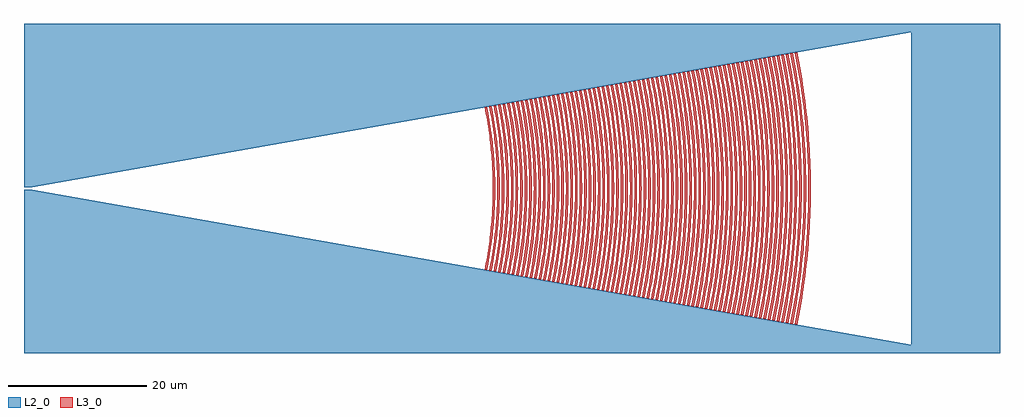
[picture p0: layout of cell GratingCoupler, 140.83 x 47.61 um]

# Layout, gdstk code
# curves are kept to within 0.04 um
import gdstk
lib = gdstk.Library(unit=1e-6, precision=1e-09)
def P(c, l, *ps):  # polygons
    for p in ps: c.add(gdstk.Polygon(p, *l))
L2_0 = (2, 0)
L3_0 = (3, 0)

gratingcoupler = lib.new_cell('GratingCoupler')
P(gratingcoupler, L2_0, [(0,-23.804),(0,-0.215),(1.219,-0.215),(128.025,-22.574),(128.025,22.574),(1.219,0.215),(0,0.215),(0,23.804),(140.828,23.804),(140.828,-23.804)])
P(gratingcoupler, L3_0, [(66.804,-11.779),(66.479,-11.722),(67.042,-8.469),(67.379,-5.658),(67.582,-2.833),(67.65,0),(67.582,2.833),(67.379,5.658),(67.042,8.469),(66.479,11.722),(66.804,11.779),(67.299,8.98),(67.661,6.158),(67.912,2.846),(67.98,0),(67.912,-2.846),(67.661,-6.158),(67.299,-8.98)],
  [(67.453,-11.894),(67.128,-11.836),(67.696,-8.552),(68.037,-5.713),(68.242,-2.86),(68.31,0),(68.242,2.86),(68.037,5.713),(67.696,8.552),(67.128,11.836),(67.453,11.894),(67.953,9.067),(68.318,6.217),(68.547,3.352),(68.64,0),(68.547,-3.352),(68.318,-6.217),(67.953,-9.067)],
  [(68.101,-12.008),(67.776,-11.951),(68.35,-8.635),(68.694,-5.768),(68.901,-2.888),(68.97,0),(68.901,2.888),(68.694,5.768),(68.35,8.635),(67.776,11.951),(68.101,12.008),(68.606,9.154),(68.975,6.277),(69.206,3.385),(69.3,0),(69.206,-3.385),(68.975,-6.277),(68.606,-9.154)],
  [(68.75,-12.122),(68.425,-12.065),(68.932,-9.198),(69.303,-6.307),(69.535,-3.401),(69.63,0),(69.535,3.401),(69.303,6.307),(68.932,9.198),(68.425,12.065),(68.75,12.122),(69.26,9.241),(69.632,6.337),(69.865,3.417),(69.96,0),(69.865,-3.417),(69.632,-6.337),(69.26,-9.241)],
  [(69.398,-12.237),(69.073,-12.179),(69.586,-9.285),(70.009,-5.879),(70.22,-2.943),(70.29,0),(70.22,2.943),(70.009,5.879),(69.586,9.285),(69.073,12.179),(69.398,12.237),(69.913,9.328),(70.289,6.397),(70.524,3.449),(70.62,0),(70.524,-3.449),(70.289,-6.397),(69.913,-9.328)],
  [(70.047,-12.351),(69.722,-12.294),(70.239,-9.372),(70.617,-6.427),(70.879,-2.971),(70.95,0),(70.879,2.971),(70.617,6.427),(70.239,9.372),(69.722,12.294),(70.047,12.351),(70.566,9.416),(70.995,5.962),(71.209,2.985),(71.28,0),(71.209,-2.985),(70.995,-5.962),(70.566,-9.416)],
  [(70.695,-12.466),(70.37,-12.408),(70.893,-9.459),(71.274,-6.486),(71.538,-2.998),(71.61,0),(71.538,2.998),(71.274,6.486),(70.893,9.459),(70.37,12.408),(70.695,12.466),(71.22,9.503),(71.652,6.017),(71.868,3.012),(71.94,0),(71.868,-3.012),(71.652,-6.017),(71.22,-9.503)],
  [(71.344,-12.58),(71.019,-12.523),(71.546,-9.546),(71.931,-6.546),(72.172,-3.53),(72.27,0),(72.172,3.53),(71.931,6.546),(71.546,9.546),(71.019,12.523),(71.344,12.58),(71.873,9.59),(72.31,6.072),(72.527,3.04),(72.6,0),(72.527,-3.04),(72.31,-6.072),(71.873,-9.59)],
  [(71.993,-12.694),(71.668,-12.637),(72.274,-9.13),(72.638,-6.1),(72.857,-3.054),(72.93,0),(72.857,3.054),(72.638,6.1),(72.274,9.13),(71.668,12.637),(71.993,12.694),(72.602,9.172),(72.967,6.127),(73.187,3.067),(73.26,0),(73.187,-3.067),(72.967,-6.127),(72.602,-9.172)],
  [(72.641,-12.809),(72.316,-12.751),(72.853,-9.721),(73.244,-6.666),(73.49,-3.594),(73.59,0),(73.49,3.594),(73.244,6.666),(72.853,9.721),(72.316,12.751),(72.641,12.809),(73.18,9.764),(73.573,6.696),(73.846,3.095),(73.92,0),(73.846,-3.095),(73.573,-6.696),(73.18,-9.764)],
  [(73.29,-12.923),(72.965,-12.866),(73.506,-9.808),(73.953,-6.21),(74.176,-3.109),(74.25,0),(74.176,3.109),(73.953,6.21),(73.582,9.296),(72.965,12.866),(73.29,12.923),(73.91,9.337),(74.282,6.238),(74.505,3.123),(74.58,0),(74.505,-3.123),(74.282,-6.238),(73.91,-9.337)],
  [(73.938,-13.037),(73.613,-12.98),(74.16,-9.895),(74.61,-6.265),(74.835,-3.137),(74.91,0),(74.835,3.137),(74.61,6.265),(74.16,9.895),(73.613,12.98),(73.938,13.037),(74.487,9.939),(74.887,6.815),(75.138,3.675),(75.24,0),(75.138,-3.675),(74.887,-6.815),(74.487,-9.939)],
  [(74.587,-13.152),(74.262,-13.094),(74.813,-9.982),(75.268,-6.32),(75.494,-3.164),(75.57,0),(75.494,3.164),(75.268,6.32),(74.813,9.982),(74.262,13.094),(74.587,13.152),(75.14,10.026),(75.544,6.875),(75.797,3.707),(75.9,0),(75.797,-3.707),(75.544,-6.875),(75.14,-10.026)],
  [(75.236,-13.266),(74.911,-13.209),(75.466,-10.069),(75.925,-6.376),(76.154,-3.192),(76.23,0),(76.154,3.192),(75.925,6.376),(75.466,10.069),(74.911,13.209),(75.236,13.266),(75.793,10.113),(76.201,6.935),(76.456,3.739),(76.56,0),(76.456,-3.739),(76.201,-6.935),(75.793,-10.113)],
  [(75.884,-13.38),(75.559,-13.323),(76.12,-10.157),(76.529,-6.965),(76.813,-3.219),(76.89,0),(76.813,3.219),(76.529,6.965),(76.12,10.157),(75.559,13.323),(75.884,13.38),(76.447,10.2),(76.858,6.995),(77.143,3.233),(77.22,0),(77.143,-3.233),(76.858,-6.995),(76.447,-10.2)],
  [(76.533,-13.495),(76.208,-13.437),(76.853,-9.709),(77.24,-6.486),(77.472,-3.247),(77.55,0),(77.472,3.247),(77.24,6.486),(76.853,9.709),(76.208,13.437),(76.533,13.495),(77.18,9.75),(77.568,6.514),(77.802,3.261),(77.88,0),(77.802,-3.261),(77.568,-6.514),(77.18,-9.75)],
  [(77.181,-13.609),(76.856,-13.552),(77.427,-10.331),(77.843,-7.084),(78.132,-3.275),(78.21,0),(78.132,3.275),(77.843,7.084),(77.427,10.331),(76.856,13.552),(77.181,13.609),(77.754,10.375),(78.226,6.569),(78.461,3.289),(78.54,0),(78.461,-3.289),(78.226,-6.569),(77.754,-10.375)],
  [(77.83,-13.724),(77.505,-13.666),(78.08,-10.418),(78.5,-7.144),(78.763,-3.852),(78.87,0),(78.763,3.852),(78.5,7.144),(78.08,10.418),(77.505,13.666),(77.83,13.724),(78.407,10.462),(78.883,6.624),(79.121,3.316),(79.2,0),(79.121,-3.316),(78.883,-6.624),(78.407,-10.462)],
  [(78.478,-13.838),(78.153,-13.781),(78.733,-10.505),(79.157,-7.204),(79.422,-3.884),(79.53,0),(79.422,3.884),(79.157,7.204),(78.733,10.505),(78.153,13.781),(78.478,13.838),(79.142,9.998),(79.541,6.679),(79.78,3.344),(79.86,0),(79.78,-3.344),(79.541,-6.679),(79.142,-9.998)],
  [(79.127,-13.952),(78.802,-13.895),(79.387,-10.592),(79.869,-6.707),(80.11,-3.358),(80.19,0),(80.11,3.358),(79.869,6.707),(79.387,10.592),(78.802,13.895),(79.127,13.952),(79.714,10.636),(80.198,6.734),(80.439,3.371),(80.52,0),(80.439,-3.371),(80.198,-6.734),(79.714,-10.636)],
  [(79.776,-14.067),(79.451,-14.009),(80.04,-10.68),(80.47,-7.323),(80.74,-3.949),(80.85,0),(80.74,3.949),(80.47,7.323),(80.04,10.68),(79.451,14.009),(79.776,14.067),(80.367,10.723),(80.799,7.353),(81.099,3.399),(81.18,0),(81.099,-3.399),(80.799,-7.353),(80.367,-10.723)],
  [(80.424,-14.181),(80.099,-14.124),(80.694,-10.767),(81.184,-6.817),(81.428,-3.413),(81.51,0),(81.428,3.413),(81.184,6.817),(80.694,10.767),(80.099,14.124),(80.424,14.181),(81.021,10.81),(81.513,6.845),(81.758,3.427),(81.84,0),(81.758,-3.427),(81.513,-6.845),(81.021,-10.81)],
  [(81.073,-14.295),(80.748,-14.238),(81.347,-10.854),(81.784,-7.443),(82.088,-3.44),(82.17,0),(82.088,3.44),(81.784,7.443),(81.347,10.854),(80.748,14.238),(81.073,14.295),(81.674,10.898),(82.113,7.473),(82.388,4.029),(82.5,0),(82.388,-4.029),(82.113,-7.473),(81.674,-10.898)],
  [(81.721,-14.41),(81.396,-14.352),(82,-10.941),(82.441,-7.503),(82.747,-3.468),(82.83,0),(82.747,3.468),(82.441,7.503),(82,10.941),(81.396,14.352),(81.721,14.41),(82.327,10.985),(82.77,7.533),(83.047,4.062),(83.16,0),(83.047,-4.062),(82.77,-7.533),(82.327,-10.985)],
  [(82.37,-14.524),(82.045,-14.467),(82.654,-11.028),(83.156,-6.983),(83.406,-3.496),(83.49,0),(83.406,3.496),(83.156,6.983),(82.654,11.028),(82.045,14.467),(82.37,14.524),(82.981,11.072),(83.427,7.592),(83.706,4.094),(83.82,0),(83.706,-4.094),(83.427,-7.592),(82.981,-11.072)],
  [(83.019,-14.638),(82.694,-14.581),(83.307,-11.116),(83.755,-7.622),(84.066,-3.523),(84.15,0),(84.066,3.523),(83.755,7.622),(83.307,11.116),(82.694,14.581),(83.019,14.638),(83.721,10.576),(84.142,7.066),(84.395,3.537),(84.48,0),(84.395,-3.537),(84.142,-7.066),(83.721,-10.576)],
  [(83.667,-14.753),(83.342,-14.695),(84.047,-10.618),(84.471,-7.093),(84.725,-3.551),(84.81,0),(84.725,3.551),(84.471,7.093),(84.047,10.618),(83.342,14.695),(83.667,14.753),(84.288,11.246),(84.74,7.712),(85.055,3.565),(85.14,0),(85.055,-3.565),(84.74,-7.712),(84.288,-11.246)],
  [(84.316,-14.867),(83.991,-14.81),(84.614,-11.29),(85.069,-7.742),(85.354,-4.174),(85.47,0),(85.354,4.174),(85.069,7.742),(84.614,11.29),(83.991,14.81),(84.316,14.867),(85.029,10.742),(85.457,7.176),(85.714,3.592),(85.8,0),(85.714,-3.592),(85.457,-7.176),(85.029,-10.742)],
  [(84.964,-14.981),(84.639,-14.924),(85.267,-11.377),(85.726,-7.802),(86.013,-4.207),(86.13,0),(86.013,4.207),(85.726,7.802),(85.267,11.377),(84.639,14.924),(84.964,14.981),(85.594,11.421),(86.054,7.832),(86.342,4.223),(86.46,0),(86.342,-4.223),(86.054,-7.832),(85.594,-11.421)],
  [(85.613,-15.096),(85.288,-15.039),(86.01,-10.866),(86.443,-7.259),(86.703,-3.634),(86.79,0),(86.703,3.634),(86.443,7.259),(86.01,10.866),(85.288,15.039),(85.613,15.096),(86.248,11.508),(86.711,7.891),(87.033,3.648),(87.12,0),(87.033,-3.648),(86.711,-7.891),(86.248,-11.508)],
  [(86.261,-15.21),(85.936,-15.153),(86.664,-10.948),(87.1,-7.314),(87.362,-3.662),(87.45,0),(87.362,3.662),(87.1,7.314),(86.664,10.948),(85.936,15.153),(86.261,15.21),(86.991,10.99),(87.429,7.342),(87.692,3.675),(87.78,0),(87.692,-3.675),(87.429,-7.342),(86.991,-10.99)],
  [(86.91,-15.325),(86.585,-15.267),(87.227,-11.639),(87.696,-7.981),(88.022,-3.689),(88.11,0),(88.022,3.689),(87.696,7.981),(87.227,11.639),(86.585,15.267),(86.91,15.325),(87.555,11.682),(88.025,8.011),(88.32,4.32),(88.44,0),(88.32,-4.32),(88.025,-8.011),(87.555,-11.682)],
  [(87.559,-15.439),(87.234,-15.382),(87.972,-11.113),(88.415,-7.424),(88.681,-3.717),(88.77,0),(88.681,3.717),(88.415,7.424),(87.972,11.113),(87.234,15.382),(87.559,15.439),(88.208,11.769),(88.744,7.452),(89.011,3.731),(89.1,0),(89.011,-3.731),(88.744,-7.452),(88.208,-11.769)],
  [(88.207,-15.553),(87.882,-15.496),(88.534,-11.813),(89.01,-8.101),(89.308,-4.368),(89.43,0),(89.308,4.368),(89.01,8.101),(88.534,11.813),(87.882,15.496),(88.207,15.553),(88.861,11.857),(89.339,8.13),(89.638,4.384),(89.76,0),(89.638,-4.384),(89.339,-8.13),(88.861,-11.857)],
  [(88.856,-15.668),(88.531,-15.61),(89.188,-11.9),(89.667,-8.16),(90,-3.772),(90.09,0),(90,3.772),(89.667,8.16),(89.188,11.9),(88.531,15.61),(88.856,15.668),(89.515,11.944),(89.996,8.19),(90.297,4.416),(90.42,0),(90.297,-4.416),(89.996,-8.19),(89.515,-11.944)],
  [(89.504,-15.782),(89.179,-15.725),(89.934,-11.361),(90.387,-7.59),(90.659,-3.8),(90.75,0),(90.659,3.8),(90.387,7.59),(89.934,11.361),(89.179,15.725),(89.504,15.782),(90.168,12.031),(90.716,7.618),(90.989,3.814),(91.08,0),(90.989,-3.814),(90.716,-7.618),(90.168,-12.031)],
  [(90.153,-15.896),(89.828,-15.839),(90.494,-12.075),(90.981,-8.28),(91.285,-4.465),(91.41,0),(91.285,4.465),(90.981,8.28),(90.494,12.075),(89.828,15.839),(90.153,15.896),(90.915,11.485),(91.373,7.673),(91.648,3.841),(91.74,0),(91.648,-3.841),(91.373,-7.673),(90.915,-11.485)],
  [(90.802,-16.011),(90.477,-15.953),(91.148,-12.162),(91.702,-7.7),(91.978,-3.855),(92.07,0),(91.978,3.855),(91.702,7.7),(91.148,12.162),(90.477,15.953),(90.802,16.011),(91.475,12.205),(91.966,8.37),(92.308,3.869),(92.4,0),(92.308,-3.869),(91.966,-8.37),(91.475,-12.205)],
  [(91.45,-16.125),(91.125,-16.068),(91.801,-12.249),(92.295,-8.399),(92.604,-4.529),(92.73,0),(92.604,4.529),(92.295,8.399),(91.801,12.249),(91.125,16.068),(91.45,16.125),(92.224,11.651),(92.688,7.783),(92.967,3.896),(93.06,0),(92.967,-3.896),(92.688,-7.783),(92.224,-11.651)],
  [(92.099,-16.239),(91.774,-16.182),(92.455,-12.336),(93.016,-7.811),(93.296,-3.91),(93.39,0),(93.296,3.91),(93.016,7.811),(92.455,12.336),(91.774,16.182),(92.099,16.239),(92.878,11.733),(93.345,7.838),(93.626,3.924),(93.72,0),(93.626,-3.924),(93.345,-7.838),(92.878,-11.733)],
  [(92.747,-16.354),(92.422,-16.297),(93.108,-12.423),(93.674,-7.866),(93.956,-3.938),(94.05,0),(93.956,3.938),(93.674,7.866),(93.108,12.423),(92.422,16.297),(92.747,16.354),(93.435,12.467),(93.937,8.549),(94.286,3.952),(94.38,0),(94.286,-3.952),(93.937,-8.549),(93.435,-12.467)],
  [(93.396,-16.468),(93.071,-16.411),(93.858,-11.857),(94.331,-7.921),(94.615,-3.966),(94.71,0),(94.615,3.966),(94.331,7.921),(93.858,11.857),(93.071,16.411),(93.396,16.468),(94.186,11.898),(94.66,7.949),(94.945,3.979),(95.04,0),(94.945,-3.979),(94.66,-7.949),(94.186,-11.898)],
  [(94.044,-16.583),(93.719,-16.525),(94.415,-12.598),(94.922,-8.639),(95.275,-3.993),(95.37,0),(95.275,3.993),(94.922,8.639),(94.415,12.598),(93.719,16.525),(94.044,16.583),(94.742,12.641),(95.251,8.669),(95.57,4.674),(95.7,0),(95.57,-4.674),(95.251,-8.669),(94.742,-12.641)],
  [(94.693,-16.697),(94.368,-16.64),(95.068,-12.685),(95.646,-8.032),(95.934,-4.021),(96.03,0),(95.934,4.021),(95.646,8.032),(95.068,12.685),(94.368,16.64),(94.693,16.697),(95.494,12.064),(95.975,8.059),(96.264,4.035),(96.36,0),(96.264,-4.035),(95.975,-8.059),(95.494,-12.064)],
  [(95.342,-16.811),(95.017,-16.754),(95.722,-12.772),(96.236,-8.758),(96.593,-4.048),(96.69,0),(96.593,4.048),(96.236,8.758),(95.722,12.772),(95.017,16.754),(95.342,16.811),(96.049,12.816),(96.565,8.788),(96.888,4.739),(97.02,0),(96.888,-4.739),(96.565,-8.788),(96.049,-12.816)],
  [(95.99,-16.926),(95.665,-16.868),(96.375,-12.859),(96.893,-8.818),(97.253,-4.076),(97.35,0),(97.253,4.076),(96.893,8.818),(96.375,12.859),(95.665,16.868),(95.99,16.926),(96.702,12.903),(97.222,8.848),(97.547,4.771),(97.656,2.046),(97.68,0),(97.656,-2.046),(97.547,-4.771),(97.222,-8.848),(96.702,-12.903)],
  [(96.639,-17.04),(96.314,-16.983),(97.028,-12.946),(97.55,-8.878),(97.738,-6.834),(97.912,-4.104),(98.01,0),(97.912,4.104),(97.738,6.834),(97.55,8.878),(97.028,12.946),(96.314,16.983),(96.639,17.04),(97.456,12.312),(97.947,8.225),(98.242,4.118),(98.34,0),(98.242,-4.118),(97.947,-8.225),(97.456,-12.312)],
  [(97.287,-17.154),(96.962,-17.097),(97.682,-13.034),(98.207,-8.938),(98.536,-4.819),(98.67,0),(98.536,4.819),(98.207,8.938),(97.682,13.034),(96.962,17.097),(97.287,17.154),(98.009,13.077),(98.297,11.026),(98.604,8.28),(98.901,4.145),(99,0),(98.901,-4.145),(98.604,-8.28),(98.297,-11.026),(98.009,-13.077)],
  [(97.936,-17.269),(97.611,-17.211),(98.335,-13.121),(98.864,-8.997),(99.054,-6.927),(99.231,-4.159),(99.33,0),(99.231,4.159),(99.054,6.927),(98.864,8.997),(98.335,13.121),(97.611,17.211),(97.936,17.269),(98.662,13.164),(99.192,9.027),(99.524,4.868),(99.616,2.783),(99.66,0),(99.616,-2.783),(99.524,-4.868),(99.192,-9.027),(98.662,-13.164)],
  [(98.584,-17.383),(98.26,-17.326),(98.767,-14.585),(99.091,-12.518),(99.59,-8.363),(99.89,-4.187),(99.99,0),(99.89,4.187),(99.59,8.363),(99.091,12.518),(98.767,14.585),(98.26,17.326),(98.584,17.383),(99.316,13.252),(99.607,11.173),(99.919,8.39),(100.22,4.2),(100.32,0),(100.22,-4.2),(99.919,-8.39),(99.607,-11.173),(99.316,-13.252)],
  [(99.233,-17.497),(98.908,-17.44),(99.642,-13.295),(99.935,-11.209),(100.247,-8.418),(100.549,-4.214),(100.65,0),(100.549,4.214),(100.247,8.418),(99.745,12.601),(99.3,15.372),(98.908,17.44),(99.233,17.497),(99.969,13.339),(100.349,10.547),(100.576,8.446),(100.879,4.228),(100.98,0),(100.879,-4.228),(100.576,-8.446),(100.349,-10.547),(99.969,-13.339)],
  [(99.882,-17.612),(99.557,-17.555),(99.951,-15.473),(100.399,-12.683),(100.905,-8.473),(101.209,-4.242),(101.31,0),(101.209,4.242),(100.905,8.473),(100.399,12.683),(99.951,15.473),(99.557,17.555),(99.882,17.612),(100.622,13.426),(101.163,9.207),(101.502,4.964),(101.615,2.129),(101.64,0),(101.615,-2.129),(101.502,-4.964),(101.163,-9.207),(100.622,-13.426)],
  [(100.53,-17.726),(100.205,-17.669),(100.949,-13.469),(101.333,-10.651),(101.562,-8.528),(101.868,-4.27),(101.97,0),(101.868,4.27),(101.562,8.528),(101.333,10.651),(100.949,13.469),(100.205,17.669),(100.53,17.726),(101.276,13.513),(101.661,10.685),(101.891,8.556),(102.198,4.283),(102.3,0),(102.198,-4.283),(101.891,-8.556),(101.661,-10.685),(101.276,-13.513)],
  [(101.179,-17.841),(100.854,-17.783),(101.602,-13.557),(102.148,-9.296),(102.49,-5.013),(102.604,-2.149),(102.63,0),(102.604,2.149),(102.49,5.013),(102.148,9.296),(101.602,13.557),(100.854,17.783),(101.179,17.841),(101.929,13.6),(102.477,9.326),(102.82,5.029),(102.914,2.875),(102.96,0),(102.914,-2.875),(102.82,-5.029),(102.477,-9.326),(101.929,-13.6)],
  [(101.827,-17.955),(101.502,-17.898),(102.027,-15.066),(102.361,-12.931),(102.877,-8.639),(103.187,-4.325),(103.29,0),(103.187,4.325),(102.877,8.639),(102.361,12.931),(102.027,15.066),(101.502,17.898),(101.827,17.955),(102.583,13.687),(103.134,9.386),(103.479,5.061),(103.574,2.893),(103.62,0),(103.574,-2.893),(103.479,-5.061),(103.134,-9.386),(102.583,-13.687)],
  [(102.476,-18.069),(102.151,-18.012),(102.909,-13.731),(103.462,-9.416),(103.716,-6.525),(103.846,-4.352),(103.95,0),(103.846,4.352),(103.716,6.525),(103.462,9.416),(102.909,13.731),(102.151,18.012),(102.476,18.069),(103.236,13.775),(103.791,9.446),(103.99,7.272),(104.176,4.366),(104.28,0),(104.176,-4.366),(103.99,-7.272),(103.791,-9.446),(103.236,-13.775)],
  [(103.125,-18.184),(102.8,-18.126),(103.562,-13.818),(104.119,-9.476),(104.319,-7.295),(104.505,-4.38),(104.61,0),(104.505,4.38),(104.319,7.295),(104.119,9.476),(103.562,13.818),(102.8,18.126),(103.125,18.184),(103.533,16.028),(103.997,13.138),(104.52,8.777),(104.835,4.394),(104.94,0),(104.835,-4.394),(104.52,-8.777),(103.997,-13.138),(103.533,-16.028)],
  [(103.773,-18.298),(103.448,-18.241),(104.216,-13.905),(104.776,-9.535),(105.127,-5.142),(105.244,-2.205),(105.27,0),(105.244,2.205),(105.127,5.142),(104.776,9.535),(104.216,13.905),(103.448,18.241),(103.773,18.298),(104.543,13.949),(104.85,11.761),(105.178,8.832),(105.494,4.422),(105.6,0),(105.494,-4.422),(105.178,-8.832),(104.85,-11.761),(104.543,-13.949)],
  [(104.422,-18.412),(104.097,-18.355),(104.869,-13.993),(105.433,-9.595),(105.786,-5.174),(105.883,-2.958),(105.93,0),(105.883,2.958),(105.786,5.174),(105.433,9.595),(104.869,13.993),(104.097,18.355),(104.422,18.412),(104.835,16.229),(105.305,13.303),(105.835,8.887),(106.154,4.449),(106.26,0),(106.154,-4.449),(105.835,-8.887),(105.305,-13.303),(104.835,-16.229)],
  [(105.07,-18.527),(104.745,-18.469),(105.287,-15.547),(105.632,-13.344),(106.163,-8.915),(106.483,-4.463),(106.59,0),(106.483,4.463),(106.163,8.915),(105.632,13.344),(105.287,15.547),(104.745,18.469),(105.07,18.527),(105.85,14.123),(106.418,9.685),(106.623,7.456),(106.813,4.477),(106.92,0),(106.813,-4.477),(106.623,-7.456),(106.418,-9.685),(105.85,-14.123)],
  [(105.719,-18.641),(105.394,-18.584),(105.939,-15.644),(106.286,-13.427),(106.821,-8.97),(107.143,-4.491),(107.25,0),(107.143,4.491),(106.821,8.97),(106.286,13.427),(105.939,15.644),(105.394,18.584),(105.719,18.641),(106.503,14.211),(106.816,11.981),(107.15,8.998),(107.472,4.504),(107.58,0),(107.472,-4.504),(107.15,-8.998),(106.816,-11.981),(106.503,-14.211)],
  [(106.367,-18.755),(106.042,-18.698),(106.462,-16.481),(106.94,-13.51),(107.478,-9.025),(107.802,-4.518),(107.91,0),(107.802,4.518),(107.478,9.025),(106.94,13.51),(106.462,16.481),(106.042,18.698),(106.367,18.755),(106.917,15.788),(107.267,13.551),(107.807,9.053),(108.132,4.532),(108.24,0),(108.132,-4.532),(107.807,-9.053),(107.267,-13.551),(106.917,-15.788)],
  [(107.016,-18.87),(106.691,-18.813),(107.483,-14.341),(107.892,-11.34),(108.136,-9.08),(108.461,-4.546),(108.57,0),(108.461,4.546),(108.136,9.08),(107.892,11.34),(107.483,14.341),(106.691,18.813),(107.016,18.87),(107.81,14.385),(108.389,9.864),(108.752,5.319),(108.852,3.04),(108.9,0),(108.852,-3.04),(108.752,-5.319),(108.389,-9.864),(107.81,-14.385)],
  [(107.665,-18.984),(107.34,-18.927),(107.765,-16.683),(108.248,-13.675),(108.793,-9.136),(109.121,-4.574),(109.23,0),(109.121,4.574),(108.793,9.136),(108.248,13.675),(107.765,16.683),(107.34,18.927),(107.665,18.984),(108.463,14.472),(108.782,12.202),(109.122,9.163),(109.45,4.587),(109.56,0),(109.45,-4.587),(109.122,-9.163),(108.782,-12.202),(108.463,-14.472)],
  [(108.313,-19.099),(107.988,-19.041),(108.789,-14.516),(109.374,-9.954),(109.585,-7.663),(109.78,-4.601),(109.89,0),(109.78,4.601),(109.585,7.663),(109.374,9.954),(108.789,14.516),(107.988,19.041),(108.313,19.099),(109.116,14.559),(109.703,9.984),(109.914,7.686),(110.11,4.615),(110.22,0),(110.11,-4.615),(109.914,-7.686),(109.703,-9.984),(109.116,-14.559)],
  [(108.962,-19.213),(108.637,-19.156),(109.067,-16.884),(109.556,-13.84),(109.948,-10.781),(110.243,-7.709),(110.473,-3.858),(110.55,0),(110.473,3.858),(110.243,7.709),(109.948,10.781),(109.556,13.84),(109.067,16.884),(108.637,19.156),(108.962,19.213),(109.77,14.646),(110.36,10.044),(110.729,5.416),(110.831,3.096),(110.88,0),(110.831,-3.096),(110.729,-5.416),(110.36,-10.044),(109.77,-14.646)],
  [(109.61,-19.327),(109.285,-19.27),(109.85,-16.221),(110.318,-13.155),(110.688,-10.073),(110.901,-7.755),(111.133,-3.881),(111.21,0),(111.133,3.881),(110.901,7.755),(110.688,10.073),(110.318,13.155),(109.85,16.221),(109.285,19.27),(109.61,19.327),(110.423,14.734),(110.843,11.65),(111.094,9.329),(111.428,4.67),(111.54,0),(111.428,-4.67),(111.094,-9.329),(110.843,-11.65),(110.423,-14.734)],
  [(110.259,-19.442),(109.934,-19.384),(110.502,-16.318),(110.973,-13.233),(111.345,-10.133),(111.559,-7.801),(111.792,-3.904),(111.87,0),(111.792,3.904),(111.559,7.801),(111.345,10.133),(110.973,13.233),(110.502,16.318),(109.934,19.384),(110.259,19.442),(110.829,16.366),(111.192,14.047),(111.751,9.384),(112.088,4.698),(112.2,0),(112.088,-4.698),(111.751,-9.384),(111.192,-14.047),(110.829,-16.366)],
  [(110.908,-19.556),(110.583,-19.499),(111.154,-16.414),(111.627,-13.311),(112.002,-10.193),(112.217,-7.847),(112.452,-3.927),(112.53,0),(112.452,3.927),(112.217,7.847),(112.002,10.193),(111.627,13.311),(111.154,16.414),(110.583,19.499),(110.908,19.556),(111.48,16.462),(111.846,14.129),(112.409,9.439),(112.747,4.726),(112.86,0),(112.747,-4.726),(112.409,-9.439),(111.846,-14.129),(111.48,-16.462)],
  [(111.556,-19.67),(111.231,-19.613),(111.806,-16.51),(112.282,-13.389),(112.659,-10.253),(112.875,-7.893),(113.111,-3.95),(113.19,0),(113.111,3.95),(112.875,7.893),(112.659,10.253),(112.282,13.389),(111.806,16.51),(111.231,19.613),(111.556,19.67),(111.998,17.338),(112.5,14.212),(113.066,9.494),(113.406,4.753),(113.52,0),(113.406,-4.753),(113.066,-9.494),(112.5,-14.212),(111.998,-17.338)])

lib.write_gds('GratingCoupler.gds')
